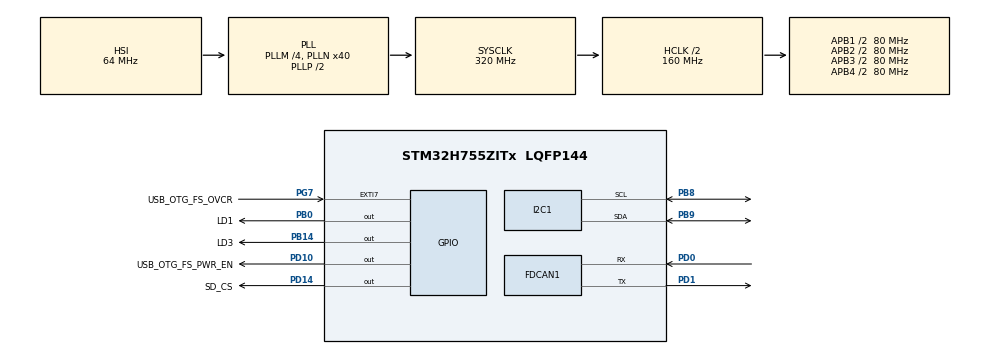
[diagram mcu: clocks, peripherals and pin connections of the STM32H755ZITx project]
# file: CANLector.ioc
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CORTEX_M7.CPU_DCache=Disabled
CORTEX_M7.CPU_ICache=Disabled
CortexM4.IPs=FATFS_M4\:I,FREERTOS_M4\:I,IWDG2\:I,RCC,WWDG2\:I,DMA,BDMA,MDMA,NVIC2\:I,ETH,USART3,DEBUG,PDM2PCM_M4\:I,PWR,RESMGR_UTILITY,SYS_M4\:I,USB_DEVICE_M4\:I,USB_HOST_M4\:I,CORTEX_M4\:I,GPIO,OPENAMP_M4\:I,VREFBUF,NUCLEO-H755ZI-Q
CortexM7.IPs=FATFS_M7\:I,FREERTOS_M7\:I,IWDG1\:I,RCC\:I,WWDG1\:I,DMA\:I,BDMA\:I,MDMA\:I,NVIC1\:I,ETH\:I,USART3\:I,USB_OTG_FS\:I,SYS\:I,CORTEX_M7\:I,DEBUG\:I,PDM2PCM_M7\:I,PWR\:I,RESMGR_UTILITY\:I,USB_DEVICE_M7\:I,USB_HOST_M7\:I,GPIO\:I,OPENAMP_M7\:I,VREFBUF\:I,NUCLEO-H755ZI-Q\:I,I2C1\:I,FDCAN1\:I
CortexM7.Pins=PB0,PB14,PD14
FDCAN1.AutoRetransmission=ENABLE
FDCAN1.CalculateBaudRateNominal=500000
FDCAN1.CalculateTimeBitNominal=2000
FDCAN1.CalculateTimeQuantumNominal=125.0
FDCAN1.Mode=FDCAN_MODE_BUS_MONITORING
FDCAN1.NominalPrescaler=10
FDCAN1.NominalTimeSeg1=13
FDCAN1.NominalTimeSeg2=2
FDCAN1.RxFifo0ElmtsNbr=8
FDCAN1.StdFiltersNbr=1
FDCAN1.TxFifoQueueElmtsNbr=8
I2C1.Timing=0x10909CEC
Mcu.Family=STM32H7
Mcu.Name=STM32H755ZITx
Mcu.Package=LQFP144
NVIC1.FDCAN1_IT0_IRQn=true\:0\:0\:false\:false\:true\:true\:true\:true
NVIC1.PriorityGroup=NVIC_PRIORITYGROUP_4
NVIC2.PriorityGroup=NVIC_PRIORITYGROUP_4
PA1.PinAttribute=CortexM7
PA1.Signal=ETH_REF_CLK
PA11.PinAttribute=CortexM7
PA11.Signal=USB_OTG_FS_DM
PA12.PinAttribute=CortexM7
PA12.Signal=USB_OTG_FS_DP
PA2.PinAttribute=CortexM7
PA2.Signal=ETH_MDIO
PA7.PinAttribute=CortexM7
PA7.Signal=SPI1_MOSI
PA8.PinAttribute=CortexM7
PA8.Signal=USB_OTG_FS_SOF
PA9.PinAttribute=CortexM7
PA9.Signal=USB_OTG_FS_VBUS
PB0.GPIO_Label=LD1
PB0.GPIO_PuPd=GPIO_NOPULL
PB0.PinAttribute=CortexM7
PB0.PinState=GPIO_PIN_SET
PB0.Signal=GPIO_Output
PB13.PinAttribute=CortexM7
PB13.Signal=ETH_TXD1
PB14.GPIO_Label=LD3
PB14.PinAttribute=CortexM7
PB14.Signal=GPIO_Output
PB8.Mode=I2C
PB8.PinAttribute=CortexM7
PB8.Signal=I2C1_SCL
PB9.Mode=I2C
PB9.PinAttribute=CortexM7
PB9.Signal=I2C1_SDA
PC1.PinAttribute=CortexM7
PC1.Signal=ETH_MDC
PC14-OSC32_IN\ (OSC32_IN).PinAttribute=Free
PC14-OSC32_IN\ (OSC32_IN).Signal=RCC_OSC32_IN
PC15-OSC32_OUT\ (OSC32_OUT).PinAttribute=Free
PC15-OSC32_OUT\ (OSC32_OUT).Signal=RCC_OSC32_OUT
PC4.PinAttribute=CortexM7
PC4.Signal=ETH_RXD0
PC5.PinAttribute=CortexM7
PC5.Signal=ETH_RXD1
PD0.Mode=FDCAN_Activate
PD0.PinAttribute=CortexM7
PD0.Signal=FDCAN1_RX
PD1.Mode=FDCAN_Activate
PD1.PinAttribute=CortexM7
PD1.Signal=FDCAN1_TX
PD10.GPIO_Label=USB_OTG_FS_PWR_EN
PD10.PinAttribute=Free
PD10.Signal=GPIO_Output
PD14.GPIO_Label=SD_CS
PD14.GPIO_PuPd=GPIO_PULLUP
PD14.GPIO_Speed=GPIO_SPEED_FREQ_HIGH
PD14.PinAttribute=CortexM7
PD14.PinState=GPIO_PIN_SET
PD14.Signal=GPIO_Output
PG11.PinAttribute=CortexM7
PG11.Signal=ETH_TX_EN
PG13.PinAttribute=CortexM7
PG13.Signal=ETH_TXD0
PG7.GPIO_Label=USB_OTG_FS_OVCR
PG7.PinAttribute=Free
PG7.Signal=GPXTI7
PH0-OSC_IN\ (PH0).PinAttribute=Free
PH0-OSC_IN\ (PH0).Signal=RCC_OSC_IN
PH1-OSC_OUT\ (PH1).PinAttribute=Free
PH1-OSC_OUT\ (PH1).Signal=RCC_OSC_OUT
ProjectManager.HeapSize=M4-0x400,M7-0x2000
ProjectManager.StackSize=M4-0x1000,M7-0x2000
ProjectManager.TargetToolchain=STM32CubeIDE
RCC.ADCFreq_Value=129000000
RCC.APB1Freq_Value=80000000
RCC.APB2Freq_Value=80000000
RCC.APB3Freq_Value=80000000
RCC.APB4Freq_Value=80000000
RCC.CortexFreq_Value=320000000
RCC.D1PPRE=RCC_APB3_DIV2
RCC.D2PPRE1=RCC_APB1_DIV2
RCC.D2PPRE2=RCC_APB2_DIV2
RCC.D3PPRE=RCC_APB4_DIV2
RCC.DIVM1=4
RCC.DIVN1=40
RCC.DIVQ1=8
RCC.HCLKFreq_Value=160000000
RCC.HPRE=RCC_HCLK_DIV2
RCC.PLL2FRACN=0
RCC.PLL3FRACN=0
RCC.PLLFRACN=0
RCC.SYSCLKFreq_VALUE=320000000
RCC.SYSCLKSource=RCC_SYSCLKSOURCE_PLLCLK
RCC.SupplySource=PWR_DIRECT_SMPS_SUPPLY
RCC.USBFreq_Value=80000000
VP_SYS_M4_VS_Systick.Mode=SysTick
board=NUCLEO-H755ZI-Q

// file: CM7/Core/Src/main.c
/* USER CODE BEGIN Header */
/**
  ******************************************************************************
  * @file           : main.c
  * @brief          : Main program body
  ******************************************************************************
  * @attention
  *
  * Copyright (c) 2026 STMicroelectronics.
  * All rights reserved.
  *
  * This software is licensed under terms that can be found in the LICENSE file
  * in the root directory of this software component.
  * If no LICENSE file comes with this software, it is provided AS-IS.
  *
  ******************************************************************************
  */
/* USER CODE END Header */
#include "main.h"

/* USER CODE BEGIN Includes */
#include <string.h>
#include <stdio.h>
#include <stdlib.h>
#include "LCD_I2C.h"
/* USER CODE END Includes */

/* USER CODE BEGIN PD */

#ifndef HSEM_ID_0
#define HSEM_ID_0 (0U) /* HW semaphore 0*/
#endif

/* USER CODE END PD */

FDCAN_HandleTypeDef hfdcan1;

I2C_HandleTypeDef hi2c1;

void SystemClock_Config(void);
static void MX_GPIO_Init(void);
static void MX_I2C1_Init(void);
static void MX_FDCAN1_Init(void);

int main(void)
{

/* USER CODE BEGIN Boot_Mode_Sequence_0 */
  int32_t timeout;
/* USER CODE END Boot_Mode_Sequence_0 */

/* USER CODE BEGIN Boot_Mode_Sequence_1 */
  /* Wait until CPU2 boots and enters in stop mode or timeout*/
  timeout = 0xFFFF;
  while((__HAL_RCC_GET_FLAG(RCC_FLAG_D2CKRDY) != RESET) && (timeout-- > 0));
  if ( timeout < 0 )
  {
  Error_Handler();
  }
/* USER CODE END Boot_Mode_Sequence_1 */
  /* MCU Configuration--------------------------------------------------------*/

  /* Reset of all peripherals, Initializes the Flash interface and the Systick. */
  HAL_Init();

  /* Configure the system clock */
  SystemClock_Config();
/* USER CODE BEGIN Boot_Mode_Sequence_2 */
/* When system initialization is finished, Cortex-M7 will release Cortex-M4 by means of
HSEM notification */
/*HW semaphore Clock enable*/
__HAL_RCC_HSEM_CLK_ENABLE();
/*Take HSEM */
HAL_HSEM_FastTake(HSEM_ID_0);
/*Release HSEM in order to notify the CPU2(CM4)*/
HAL_HSEM_Release(HSEM_ID_0,0);
/* wait until CPU2 wakes up from stop mode */
timeout = 0xFFFF;
while((__HAL_RCC_GET_FLAG(RCC_FLAG_D2CKRDY) == RESET) && (timeout-- > 0));
if ( timeout < 0 )
{
Error_Handler();
}
/* USER CODE END Boot_Mode_Sequence_2 */

  /* Initialize all configured peripherals */
  MX_GPIO_Init();
  MX_I2C1_Init();
  MX_FDCAN1_Init();
  /* USER CODE BEGIN 2 */
  LCD_init();
  	LCD_CLEAR();
  	HAL_FDCAN_Start(&hfdcan1);
  	FDCAN_TxHeaderTypeDef txHeader;
  	uint8_t txData[8] = {0x02,0x01,0x0D,0x00,0x00,0x00,0x00,0x00};
  	txHeader.Identifier = 0x7DF;
  	txHeader.IdType = FDCAN_STANDARD_ID;
  	txHeader.TxFrameType = FDCAN_DATA_FRAME;
  	txHeader.DataLength = FDCAN_DLC_BYTES_8;
  	txHeader.ErrorStateIndicator = FDCAN_ESI_ACTIVE;
  	txHeader.BitRateSwitch = FDCAN_BRS_OFF;
  	txHeader.FDFormat = FDCAN_CLASSIC_CAN;
  	txHeader.TxEventFifoControl = FDCAN_NO_TX_EVENTS;
  	txHeader.MessageMarker = 0;
  	LCD_CURSOR(0,0);
  	LCD_CADENA("!");
  	HAL_Delay(200);
  	LCD_CLEAR();
  /* USER CODE END 2 */

  /* Infinite loop */
  /* USER CODE BEGIN WHILE */
  while (1)
  {
	  char buffer[32];
	  FDCAN_RxHeaderTypeDef rxHeader;
	  uint8_t rxData[8];
	  static uint32_t lastRequest = 0;
	  if(HAL_GetTick() - lastRequest > 1000)
	  {
	      HAL_FDCAN_AddMessageToTxFifoQ(&hfdcan1, &txHeader, txData);
	      lastRequest = HAL_GetTick();
	  }
	  if(HAL_FDCAN_GetRxFifoFillLevel(&hfdcan1, FDCAN_RX_FIFO0) > 0)
	  {
	      HAL_FDCAN_GetRxMessage(&hfdcan1, FDCAN_RX_FIFO0, &rxHeader, rxData);
	      if(rxHeader.Identifier >= 0x7E8 && rxHeader.Identifier <= 0x7EF)
	      {
	          if(rxData[1] == 0x41 && rxData[2] == 0x0D)
	          {
	              uint8_t speed = rxData[3];
	              sprintf(buffer,"SPD:%u km/h   ", speed);
	              LCD_CURSOR(0,0);
	              LCD_CADENA(buffer);
	          }
	      }
	  }
	  HAL_Delay(10);
    /* USER CODE END WHILE */

  }
}

void SystemClock_Config(void)
{
  RCC_OscInitTypeDef RCC_OscInitStruct = {0};
  RCC_ClkInitTypeDef RCC_ClkInitStruct = {0};

  /** Supply configuration update enable
  */
  HAL_PWREx_ConfigSupply(PWR_DIRECT_SMPS_SUPPLY);

  /** Configure the main internal regulator output voltage
  */
  __HAL_PWR_VOLTAGESCALING_CONFIG(PWR_REGULATOR_VOLTAGE_SCALE1);

  while(!__HAL_PWR_GET_FLAG(PWR_FLAG_VOSRDY)) {}

  /** Initializes the RCC Oscillators according to the specified parameters
  * in the RCC_OscInitTypeDef structure.
  */
  RCC_OscInitStruct.OscillatorType = RCC_OSCILLATORTYPE_HSI;
  RCC_OscInitStruct.HSIState = RCC_HSI_DIV1;
  RCC_OscInitStruct.HSICalibrationValue = RCC_HSICALIBRATION_DEFAULT;
  RCC_OscInitStruct.PLL.PLLState = RCC_PLL_ON;
  RCC_OscInitStruct.PLL.PLLSource = RCC_PLLSOURCE_HSI;
  RCC_OscInitStruct.PLL.PLLM = 4;
  RCC_OscInitStruct.PLL.PLLN = 40;
  RCC_OscInitStruct.PLL.PLLP = 2;
  RCC_OscInitStruct.PLL.PLLQ = 8;
  RCC_OscInitStruct.PLL.PLLR = 2;
  RCC_OscInitStruct.PLL.PLLRGE = RCC_PLL1VCIRANGE_3;
  RCC_OscInitStruct.PLL.PLLVCOSEL = RCC_PLL1VCOWIDE;
  RCC_OscInitStruct.PLL.PLLFRACN = 0;
  if (HAL_RCC_OscConfig(&RCC_OscInitStruct) != HAL_OK)
  {
    Error_Handler();
  }

  /** Initializes the CPU, AHB and APB buses clocks
  */
  RCC_ClkInitStruct.ClockType = RCC_CLOCKTYPE_HCLK|RCC_CLOCKTYPE_SYSCLK
                              |RCC_CLOCKTYPE_PCLK1|RCC_CLOCKTYPE_PCLK2
                              |RCC_CLOCKTYPE_D3PCLK1|RCC_CLOCKTYPE_D1PCLK1;
  RCC_ClkInitStruct.SYSCLKSource = RCC_SYSCLKSOURCE_PLLCLK;
  RCC_ClkInitStruct.SYSCLKDivider = RCC_SYSCLK_DIV1;
  RCC_ClkInitStruct.AHBCLKDivider = RCC_HCLK_DIV2;
  RCC_ClkInitStruct.APB3CLKDivider = RCC_APB3_DIV2;
  RCC_ClkInitStruct.APB1CLKDivider = RCC_APB1_DIV2;
  RCC_ClkInitStruct.APB2CLKDivider = RCC_APB2_DIV2;
  RCC_ClkInitStruct.APB4CLKDivider = RCC_APB4_DIV2;

  if (HAL_RCC_ClockConfig(&RCC_ClkInitStruct, FLASH_LATENCY_2) != HAL_OK)
  {
    Error_Handler();
  }
}

static void MX_FDCAN1_Init(void)
{

  hfdcan1.Instance = FDCAN1;
  hfdcan1.Init.FrameFormat = FDCAN_FRAME_CLASSIC;
  hfdcan1.Init.Mode = FDCAN_MODE_NORMAL;
  hfdcan1.Init.AutoRetransmission = ENABLE;
  hfdcan1.Init.TransmitPause = DISABLE;
  hfdcan1.Init.ProtocolException = DISABLE;
  hfdcan1.Init.NominalPrescaler = 10;
  hfdcan1.Init.NominalSyncJumpWidth = 1;
  hfdcan1.Init.NominalTimeSeg1 = 13;
  hfdcan1.Init.NominalTimeSeg2 = 2;
  hfdcan1.Init.DataPrescaler = 1;
  hfdcan1.Init.DataSyncJumpWidth = 1;
  hfdcan1.Init.DataTimeSeg1 = 1;
  hfdcan1.Init.DataTimeSeg2 = 1;
  hfdcan1.Init.MessageRAMOffset = 0;
  hfdcan1.Init.StdFiltersNbr = 0;
  hfdcan1.Init.ExtFiltersNbr = 1;
  hfdcan1.Init.RxFifo0ElmtsNbr = 8;
  hfdcan1.Init.RxFifo0ElmtSize = FDCAN_DATA_BYTES_8;
  hfdcan1.Init.RxFifo1ElmtsNbr = 0;
  hfdcan1.Init.RxFifo1ElmtSize = FDCAN_DATA_BYTES_8;
  hfdcan1.Init.RxBuffersNbr = 0;
  hfdcan1.Init.RxBufferSize = FDCAN_DATA_BYTES_8;
  hfdcan1.Init.TxEventsNbr = 0;
  hfdcan1.Init.TxBuffersNbr = 0;
  hfdcan1.Init.TxFifoQueueElmtsNbr = 8;
  hfdcan1.Init.TxFifoQueueMode = FDCAN_TX_FIFO_OPERATION;
  hfdcan1.Init.TxElmtSize = FDCAN_DATA_BYTES_8;
  if (HAL_FDCAN_Init(&hfdcan1) != HAL_OK)
  {
    Error_Handler();
  }
  /* USER CODE BEGIN FDCAN1_Init 2 */
  FDCAN_FilterTypeDef sFilterConfig;
  sFilterConfig.IdType = FDCAN_EXTENDED_ID;
  sFilterConfig.FilterIndex = 0;
  sFilterConfig.FilterType = FDCAN_FILTER_RANGE;
  sFilterConfig.FilterConfig = FDCAN_FILTER_TO_RXFIFO0;
  sFilterConfig.FilterID1 = 0x00000000;
  sFilterConfig.FilterID2 = 0x1FFFFFFF;
  HAL_FDCAN_ConfigFilter(&hfdcan1, &sFilterConfig);
  /* USER CODE END FDCAN1_Init 2 */

}

static void MX_I2C1_Init(void)
{

  hi2c1.Instance = I2C1;
  hi2c1.Init.Timing = 0x10909CEC;
  hi2c1.Init.OwnAddress1 = 0;
  hi2c1.Init.AddressingMode = I2C_ADDRESSINGMODE_7BIT;
  hi2c1.Init.DualAddressMode = I2C_DUALADDRESS_DISABLE;
  hi2c1.Init.OwnAddress2 = 0;
  hi2c1.Init.OwnAddress2Masks = I2C_OA2_NOMASK;
  hi2c1.Init.GeneralCallMode = I2C_GENERALCALL_DISABLE;
  hi2c1.Init.NoStretchMode = I2C_NOSTRETCH_DISABLE;
  if (HAL_I2C_Init(&hi2c1) != HAL_OK)
  {
    Error_Handler();
  }

  /** Configure Analogue filter
  */
  if (HAL_I2CEx_ConfigAnalogFilter(&hi2c1, I2C_ANALOGFILTER_ENABLE) != HAL_OK)
  {
    Error_Handler();
  }

  /** Configure Digital filter
  */
  if (HAL_I2CEx_ConfigDigitalFilter(&hi2c1, 0) != HAL_OK)
  {
    Error_Handler();
  }

}

static void MX_GPIO_Init(void)
{
  GPIO_InitTypeDef GPIO_InitStruct = {0};

  /* GPIO Ports Clock Enable */
  __HAL_RCC_GPIOC_CLK_ENABLE();
  __HAL_RCC_GPIOA_CLK_ENABLE();
  __HAL_RCC_GPIOB_CLK_ENABLE();
  __HAL_RCC_GPIOD_CLK_ENABLE();
  __HAL_RCC_GPIOG_CLK_ENABLE();

  /*Configure GPIO pin Output Level */
  HAL_GPIO_WritePin(LD1_GPIO_Port, LD1_Pin, GPIO_PIN_SET);

  /*Configure GPIO pin Output Level */
  HAL_GPIO_WritePin(LD3_GPIO_Port, LD3_Pin, GPIO_PIN_RESET);

  /*Configure GPIO pin Output Level */
  HAL_GPIO_WritePin(SD_CS_GPIO_Port, SD_CS_Pin, GPIO_PIN_SET);

  /*Configure GPIO pins : PC1 PC4 PC5 */
  GPIO_InitStruct.Pin = GPIO_PIN_1|GPIO_PIN_4|GPIO_PIN_5;
  GPIO_InitStruct.Mode = GPIO_MODE_AF_PP;
  GPIO_InitStruct.Pull = GPIO_NOPULL;
  GPIO_InitStruct.Speed = GPIO_SPEED_FREQ_LOW;
  GPIO_InitStruct.Alternate = GPIO_AF11_ETH;
  HAL_GPIO_Init(GPIOC, &GPIO_InitStruct);

  /*Configure GPIO pins : PA1 PA2 */
  GPIO_InitStruct.Pin = GPIO_PIN_1|GPIO_PIN_2;
  GPIO_InitStruct.Mode = GPIO_MODE_AF_PP;
  GPIO_InitStruct.Pull = GPIO_NOPULL;
  GPIO_InitStruct.Speed = GPIO_SPEED_FREQ_LOW;
  GPIO_InitStruct.Alternate = GPIO_AF11_ETH;
  HAL_GPIO_Init(GPIOA, &GPIO_InitStruct);

  /*Configure GPIO pin : PA7 */
  GPIO_InitStruct.Pin = GPIO_PIN_7;
  GPIO_InitStruct.Mode = GPIO_MODE_AF_PP;
  GPIO_InitStruct.Pull = GPIO_NOPULL;
  GPIO_InitStruct.Speed = GPIO_SPEED_FREQ_LOW;
  GPIO_InitStruct.Alternate = GPIO_AF5_SPI1;
  HAL_GPIO_Init(GPIOA, &GPIO_InitStruct);

  /*Configure GPIO pins : LD1_Pin LD3_Pin */
  GPIO_InitStruct.Pin = LD1_Pin|LD3_Pin;
  GPIO_InitStruct.Mode = GPIO_MODE_OUTPUT_PP;
  GPIO_InitStruct.Pull = GPIO_NOPULL;
  GPIO_InitStruct.Speed = GPIO_SPEED_FREQ_LOW;
  HAL_GPIO_Init(GPIOB, &GPIO_InitStruct);

  /*Configure GPIO pin : PB13 */
  GPIO_InitStruct.Pin = GPIO_PIN_13;
  GPIO_InitStruct.Mode = GPIO_MODE_AF_PP;
  GPIO_InitStruct.Pull = GPIO_NOPULL;
  GPIO_InitStruct.Speed = GPIO_SPEED_FREQ_LOW;
  GPIO_InitStruct.Alternate = GPIO_AF11_ETH;
  HAL_GPIO_Init(GPIOB, &GPIO_InitStruct);

  /*Configure GPIO pin : SD_CS_Pin */
  GPIO_InitStruct.Pin = SD_CS_Pin;
  GPIO_InitStruct.Mode = GPIO_MODE_OUTPUT_PP;
  GPIO_InitStruct.Pull = GPIO_PULLUP;
  GPIO_InitStruct.Speed = GPIO_SPEED_FREQ_HIGH;
  HAL_GPIO_Init(SD_CS_GPIO_Port, &GPIO_InitStruct);

  /*Configure GPIO pins : PA8 PA11 PA12 */
  GPIO_InitStruct.Pin = GPIO_PIN_8|GPIO_PIN_11|GPIO_PIN_12;
  GPIO_InitStruct.Mode = GPIO_MODE_AF_PP;
  GPIO_InitStruct.Pull = GPIO_NOPULL;
  GPIO_InitStruct.Speed = GPIO_SPEED_FREQ_LOW;
  GPIO_InitStruct.Alternate = GPIO_AF10_OTG1_FS;
  HAL_GPIO_Init(GPIOA, &GPIO_InitStruct);

  /*Configure GPIO pins : PG11 PG13 */
  GPIO_InitStruct.Pin = GPIO_PIN_11|GPIO_PIN_13;
  GPIO_InitStruct.Mode = GPIO_MODE_AF_PP;
  GPIO_InitStruct.Pull = GPIO_NOPULL;
  GPIO_InitStruct.Speed = GPIO_SPEED_FREQ_LOW;
  GPIO_InitStruct.Alternate = GPIO_AF11_ETH;
  HAL_GPIO_Init(GPIOG, &GPIO_InitStruct);

}

void Error_Handler(void)
{
  __disable_irq();
  while (1)
  {
  }
}
